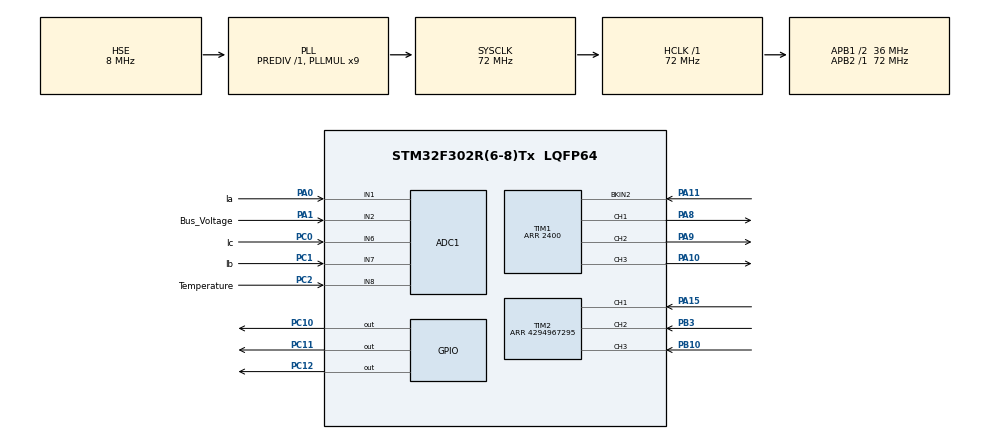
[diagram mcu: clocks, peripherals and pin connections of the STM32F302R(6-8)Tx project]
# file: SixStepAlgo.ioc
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ADC1.Channel-0\#ChannelRegularConversion=ADC_CHANNEL_2
ADC1.Channel-5\#ChannelRegularConversion=ADC_CHANNEL_8
ADC1.ContinuousConvMode=ENABLE
ADC1.DMAContinuousRequests=ENABLE
ADC1.ExternalTrigInjecConv=ADC_EXTERNALTRIGINJECCONV_T1_CC4
ADC1.InjNumberOfConversion=3
ADC1.InjectedChannel-6\#ChannelInjectedConversion=ADC_CHANNEL_1
ADC1.InjectedChannel-7\#ChannelInjectedConversion=ADC_CHANNEL_7
ADC1.InjectedChannel-8\#ChannelInjectedConversion=ADC_CHANNEL_6
ADC1.InjectedConvMode=Discontinuous
ADC1.InjectedOffset-6\#ChannelInjectedConversion=0
ADC1.InjectedOffset-7\#ChannelInjectedConversion=0
ADC1.InjectedOffset-8\#ChannelInjectedConversion=0
ADC1.InjectedOffsetNumber-6\#ChannelInjectedConversion=ADC_OFFSET_NONE
ADC1.InjectedOffsetNumber-7\#ChannelInjectedConversion=ADC_OFFSET_NONE
ADC1.InjectedOffsetNumber-8\#ChannelInjectedConversion=ADC_OFFSET_NONE
ADC1.InjectedRank-6\#ChannelInjectedConversion=1
ADC1.InjectedRank-7\#ChannelInjectedConversion=2
ADC1.InjectedRank-8\#ChannelInjectedConversion=3
ADC1.InjectedSamplingTime-6\#ChannelInjectedConversion=ADC_SAMPLETIME_19CYCLES_5
ADC1.InjectedSamplingTime-7\#ChannelInjectedConversion=ADC_SAMPLETIME_19CYCLES_5
ADC1.InjectedSamplingTime-8\#ChannelInjectedConversion=ADC_SAMPLETIME_19CYCLES_5
ADC1.InjectedSamplingTimeOPAMP-6\#ChannelInjectedConversion=ADC_SAMPLETIME_61CYCLES_5
ADC1.InjectedSamplingTimeOPAMP-7\#ChannelInjectedConversion=ADC_SAMPLETIME_61CYCLES_5
ADC1.InjectedSamplingTimeOPAMP-8\#ChannelInjectedConversion=ADC_SAMPLETIME_61CYCLES_5
ADC1.NbrOfConversion=2
ADC1.NbrOfConversionFlag=1
ADC1.Offset-0\#ChannelRegularConversion=0
ADC1.Offset-5\#ChannelRegularConversion=0
ADC1.OffsetNumber-0\#ChannelRegularConversion=ADC_OFFSET_NONE
ADC1.OffsetNumber-5\#ChannelRegularConversion=ADC_OFFSET_NONE
ADC1.Rank-0\#ChannelRegularConversion=1
ADC1.Rank-5\#ChannelRegularConversion=2
ADC1.Rank1_Channel=ADC_CHANNEL_1
ADC1.Rank2_Channel=ADC_CHANNEL_7
ADC1.Rank3_Channel=ADC_CHANNEL_6
ADC1.SamplingTime-0\#ChannelRegularConversion=ADC_SAMPLETIME_181CYCLES_5
ADC1.SamplingTime-5\#ChannelRegularConversion=ADC_SAMPLETIME_181CYCLES_5
ADC1.SamplingTimeOPAMP-5\#ChannelRegularConversion=ADC_SAMPLETIME_61CYCLES_5
ADC1.SequencerNbRanks=1
ADC1.SubFamily=STM32F302x8
ADC1.master=1
Dma.ADC1.0.Direction=DMA_PERIPH_TO_MEMORY
Dma.ADC1.0.Instance=DMA1_Channel1
Dma.ADC1.0.MemDataAlignment=DMA_MDATAALIGN_WORD
Dma.ADC1.0.MemInc=DMA_MINC_ENABLE
Dma.ADC1.0.Mode=DMA_CIRCULAR
Dma.ADC1.0.PeriphDataAlignment=DMA_PDATAALIGN_WORD
Dma.ADC1.0.PeriphInc=DMA_PINC_DISABLE
Dma.ADC1.0.Priority=DMA_PRIORITY_LOW
Dma.Request0=ADC1
Mcu.Family=STM32F3
Mcu.Name=STM32F302R(6-8)Tx
Mcu.Package=LQFP64
NVIC.ADC1_IRQn=true\:0\:0\:false\:false\:true\:true\:true
NVIC.DMA1_Channel1_IRQn=true\:0\:0\:false\:false\:true\:false\:true
NVIC.PriorityGroup=NVIC_PRIORITYGROUP_4
NVIC.TIM1_UP_TIM16_IRQn=true\:0\:0\:false\:false\:true\:true\:true
NVIC.TIM2_IRQn=true\:0\:0\:false\:false\:true\:true\:true
PA0.GPIO_Label=Ia
PA0.Mode=IN1-Single-Ended
PA0.Signal=ADC1_IN1
PA1.GPIO_Label=Bus_Voltage
PA1.Mode=IN2-Single-Ended
PA1.Signal=ADC1_IN2
PA10.Signal=S_TIM1_CH3
PA11.Mode=Activate-Break-Input-2
PA11.Signal=TIM1_BKIN2
PA13.Mode=Serial_Wire
PA13.Signal=SYS_JTMS-SWDIO
PA14.Mode=Serial_Wire
PA14.Signal=SYS_JTCK-SWCLK
PA15.Signal=S_TIM2_CH1_ETR
PA8.Signal=S_TIM1_CH1
PA9.Signal=S_TIM1_CH2
PB10.Signal=S_TIM2_CH3
PB3.Signal=S_TIM2_CH2
PC0.GPIO_Label=Ic
PC0.Signal=ADCx_IN6
PC1.GPIO_Label=Ib
PC1.Signal=ADCx_IN7
PC10.Signal=GPIO_Output
PC11.Signal=GPIO_Output
PC12.Signal=GPIO_Output
PC2.GPIO_Label=Temperature
PC2.Signal=ADCx_IN8
PF0-OSC_IN.Mode=HSE-External-Oscillator
PF0-OSC_IN.Signal=RCC_OSC_IN
PF1-OSC_OUT.Mode=HSE-External-Oscillator
PF1-OSC_OUT.Signal=RCC_OSC_OUT
ProjectManager.HeapSize=0x200
ProjectManager.StackSize=0x400
ProjectManager.TargetToolchain=MDK-ARM V5.27
RCC.AHBFreq_Value=72000000
RCC.APB1CLKDivider=RCC_HCLK_DIV2
RCC.APB1Freq_Value=36000000
RCC.APB1TimFreq_Value=72000000
RCC.APB2Freq_Value=72000000
RCC.APB2TimFreq_Value=72000000
RCC.CortexFreq_Value=72000000
RCC.HCLKFreq_Value=72000000
RCC.HSE_VALUE=8000000
RCC.HSI_VALUE=8000000
RCC.LSE_VALUE=32768
RCC.PLLMUL=RCC_PLL_MUL9
RCC.PLLSourceVirtual=RCC_PLLSOURCE_HSE
RCC.SYSCLKFreq_VALUE=72000000
RCC.SYSCLKSourceVirtual=RCC_SYSCLKSOURCE_PLLCLK
RCC.USBFreq_Value=72000000
SH.ADCx_IN6.0=ADC1_IN6,IN6-Single-Ended
SH.ADCx_IN7.0=ADC1_IN7,IN7-Single-Ended
SH.ADCx_IN8.0=ADC1_IN8,IN8-Single-Ended
SH.S_TIM1_CH1.0=TIM1_CH1,PWM Generation1 CH1
SH.S_TIM1_CH2.0=TIM1_CH2,PWM Generation2 CH2
SH.S_TIM1_CH3.0=TIM1_CH3,PWM Generation3 CH3
SH.S_TIM2_CH1_ETR.0=TIM2_CH1,Xored_Inputs_Hall_Sensor_Interface
SH.S_TIM2_CH2.0=TIM2_CH2,Xored_Inputs_Hall_Sensor_Interface
SH.S_TIM2_CH3.0=TIM2_CH3,Xored_Inputs_Hall_Sensor_Interface
TIM1.Break2Filter=7
TIM1.Break2Polarity=TIM_BREAK2POLARITY_LOW
TIM1.Break2State=TIM_BREAK2_DISABLE
TIM1.Channel-PWM\ Generation1\ CH1=TIM_CHANNEL_1
TIM1.Channel-PWM\ Generation2\ CH2=TIM_CHANNEL_2
TIM1.Channel-PWM\ Generation3\ CH3=TIM_CHANNEL_3
TIM1.Channel-PWM\ Generation4\ No\ Output=TIM_CHANNEL_4
TIM1.ClockDivision=TIM_CLOCKDIVISION_DIV2
TIM1.CounterMode=TIM_COUNTERMODE_CENTERALIGNED1
TIM1.LockLevel=TIM_LOCKLEVEL_1
TIM1.OCMode_PWM-PWM\ Generation4\ No\ Output=TIM_OCMODE_PWM2
TIM1.Period=2400
TIM1.Pulse-PWM\ Generation1\ CH1=1200
TIM1.Pulse-PWM\ Generation2\ CH2=1200
TIM1.Pulse-PWM\ Generation3\ CH3=1200
TIM1.Pulse-PWM\ Generation4\ No\ Output=2300
TIM1.RepetitionCounter=1
TIM1.TIM_MasterOutputTrigger=TIM_TRGO_OC4REF
TIM2.IC1Filter=11
TIM2.Period=4294967295
VP_TIM1_VS_ClockSourceITR.Mode=TriggerSource_ITR1
VP_TIM1_VS_ControllerModeTrigger.Mode=Trigger Mode
VP_TIM1_VS_no_output4.Mode=PWM Generation4 No Output
VP_TIM2_VS_ClockSourceINT.Mode=Internal
board=custom

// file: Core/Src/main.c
/* USER CODE BEGIN Header */
/**
  ******************************************************************************
  * @file           : main.c
  * @brief          : Main program body
  ******************************************************************************
  * @attention
  *
  * <h2><center>&copy; Copyright (c) 2021 STMicroelectronics.
  * All rights reserved.</center></h2>
  *
  * This software component is licensed by ST under BSD 3-Clause license,
  * the "License"; You may not use this file except in compliance with the
  * License. You may obtain a copy of the License at:
  *                        opensource.org/licenses/BSD-3-Clause
  *
  ******************************************************************************
  */
/* USER CODE END Header */
#include "main.h"
#include "adc.h"
#include "dma.h"
#include "tim.h"
#include "gpio.h"

/* USER CODE BEGIN Includes */
#include "bldc.h"
/* USER CODE END Includes */

void SystemClock_Config(void);
/* USER CODE BEGIN PFP */
volatile uint8_t hall_state=0;
BLDC BLDC_DRIVER;

/* USER CODE END PFP */

/* USER CODE BEGIN 0 */
float q_kp= 0.1;
float d_kp= 0.1;
float q_ref=500;
uint32_t main_tick = 0;
/* USER CODE END 0 */

int main(void)
{

  /* MCU Configuration--------------------------------------------------------*/

  /* Reset of all peripherals, Initializes the Flash interface and the Systick. */
  HAL_Init();

  /* Configure the system clock */
  SystemClock_Config();

  /* Initialize all configured peripherals */
  MX_GPIO_Init();
  MX_DMA_Init();
  MX_TIM1_Init();
  MX_TIM2_Init();
  MX_ADC1_Init();
  /* USER CODE BEGIN 2 */
//	HAL_TIM_Base_Stop(&htim1);
	TIM1->CNT = 0;
	HAL_ADC_Start_DMA(&hadc1,(uint32_t*)&BLDC_DRIVER.focMeasures[0].vbus,2);
	HAL_TIMEx_HallSensor_Start_IT(&htim2);
	HAL_ADCEx_InjectedStart_IT(&hadc1);
	HAL_TIMEx_ConfigCommutEvent_IT(&htim2,TIM_TS_NONE,TIM_COMMUTATION_SOFTWARE);
	HAL_TIM_PWM_Start(&htim1,TIM_CHANNEL_1);
	HAL_TIM_PWM_Start(&htim1,TIM_CHANNEL_2);
	HAL_TIM_PWM_Start(&htim1,TIM_CHANNEL_3);
	HAL_TIM_PWM_Start(&htim1,TIM_CHANNEL_4);
	hall_state = HAL_GPIO_ReadPin(GPIOA,GPIO_PIN_15) | (HAL_GPIO_ReadPin(GPIOB,GPIO_PIN_3)<<1) | (HAL_GPIO_ReadPin(GPIOB,GPIO_PIN_10)<<2);
//	HAL_TIM_Base_Start(&htim1);
  /* USER CODE END 2 */

  /* Infinite loop */
  /* USER CODE BEGIN WHILE */
  while (1)
  {

		BLDC_DRIVER.Irotor.pid_q.kp = q_kp;
		BLDC_DRIVER.Irotor.pid_d.kp = d_kp;
		BLDC_DRIVER.Irotor.pid_q.ref = q_ref;
		main_tick++;
    /* USER CODE END WHILE */

  }
}

void SystemClock_Config(void)
{
  RCC_OscInitTypeDef RCC_OscInitStruct = {0};
  RCC_ClkInitTypeDef RCC_ClkInitStruct = {0};
  RCC_PeriphCLKInitTypeDef PeriphClkInit = {0};

  /** Initializes the RCC Oscillators according to the specified parameters
  * in the RCC_OscInitTypeDef structure.
  */
  RCC_OscInitStruct.OscillatorType = RCC_OSCILLATORTYPE_HSE;
  RCC_OscInitStruct.HSEState = RCC_HSE_ON;
  RCC_OscInitStruct.HSEPredivValue = RCC_HSE_PREDIV_DIV1;
  RCC_OscInitStruct.HSIState = RCC_HSI_ON;
  RCC_OscInitStruct.PLL.PLLState = RCC_PLL_ON;
  RCC_OscInitStruct.PLL.PLLSource = RCC_PLLSOURCE_HSE;
  RCC_OscInitStruct.PLL.PLLMUL = RCC_PLL_MUL9;
  if (HAL_RCC_OscConfig(&RCC_OscInitStruct) != HAL_OK)
  {
    Error_Handler();
  }
  /** Initializes the CPU, AHB and APB buses clocks
  */
  RCC_ClkInitStruct.ClockType = RCC_CLOCKTYPE_HCLK|RCC_CLOCKTYPE_SYSCLK
                              |RCC_CLOCKTYPE_PCLK1|RCC_CLOCKTYPE_PCLK2;
  RCC_ClkInitStruct.SYSCLKSource = RCC_SYSCLKSOURCE_PLLCLK;
  RCC_ClkInitStruct.AHBCLKDivider = RCC_SYSCLK_DIV1;
  RCC_ClkInitStruct.APB1CLKDivider = RCC_HCLK_DIV2;
  RCC_ClkInitStruct.APB2CLKDivider = RCC_HCLK_DIV1;

  if (HAL_RCC_ClockConfig(&RCC_ClkInitStruct, FLASH_LATENCY_2) != HAL_OK)
  {
    Error_Handler();
  }
  PeriphClkInit.PeriphClockSelection = RCC_PERIPHCLK_TIM1|RCC_PERIPHCLK_ADC1;
  PeriphClkInit.Tim1ClockSelection = RCC_TIM1CLK_HCLK;
  PeriphClkInit.Adc1ClockSelection = RCC_ADC1PLLCLK_DIV1;

  if (HAL_RCCEx_PeriphCLKConfig(&PeriphClkInit) != HAL_OK)
  {
    Error_Handler();
  }
}

void Error_Handler(void)
{
  __disable_irq();
  while (1)
  {
  }
}

/************************ (C) COPYRIGHT STMicroelectronics *****END OF FILE****/
